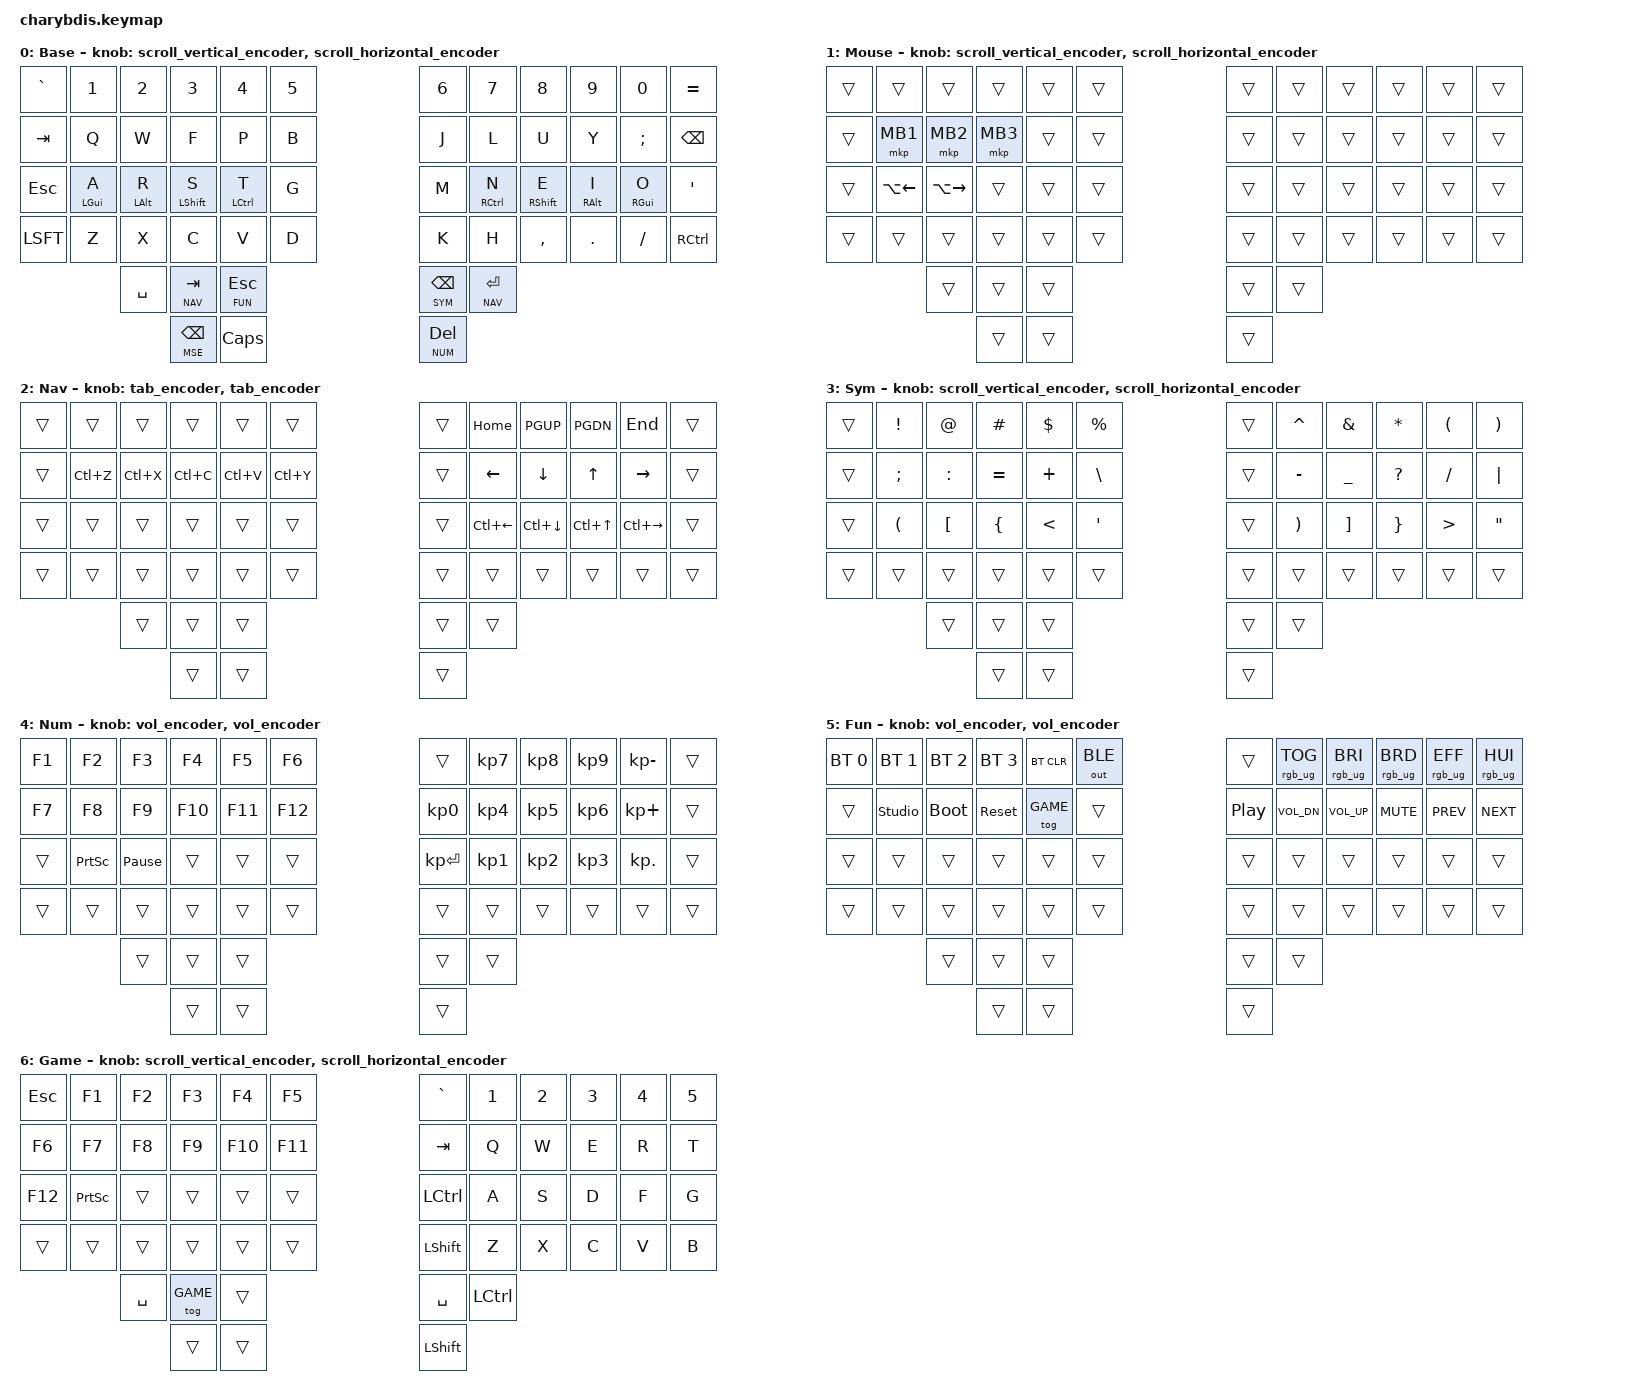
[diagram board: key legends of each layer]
// XI-MK1_2 (Charybdis 4x6 clone, 56-key) — Colemak-DH + HRM + layers
// Matrix verified against Vzhao-L/zmk-for-charybdis @ main-20250226
// ====================================================================
// POSITION MAP (from charybdis.dtsi transform):
// L keywell: 0-5 / 12-17 / 24-29 / 36-41   R keywell: 6-11 / 18-23 / 30-35 / 42-47
// L thumbs: 48 49 50 (upper), 53 54 (lower; 54 = wheel press ASSUMED - verify!)
// R thumbs: 51 52 (upper), 55 (lower)
// Encoders (left): slot 1 = wheel (assumed), slot 2 = unpopulated
// scroll-layers = <1> in charybdis_right.overlay -> on layer 1 (MSE) the
// trackball scrolls natively. Do not reorder layer 1 away from MSE.
// ====================================================================

#define ZMK_POINTING_DEFAULT_SCRL_VAL 15

#include <dt-bindings/zmk/mouse.h>
#include <input/processors.dtsi>
#include <zephyr/dt-bindings/input/input-event-codes.h>
#include <behaviors.dtsi>
#include <dt-bindings/zmk/bt.h>
#include <dt-bindings/zmk/keys.h>
#include <dt-bindings/zmk/outputs.h>
#include <dt-bindings/zmk/pointing.h>
#include <dt-bindings/zmk/rgb.h>

#define BASE 0
#define MSE  1
#define NAV  2
#define SYM  3
#define NUM  4
#define FUN  5
#define GAME 6

&lt {
    tapping-term-ms = <200>;
    flavor = "balanced";
    quick-tap-ms = <150>;
};

&msc {
    acceleration-exponent = <0>;
    time-to-max-speed-ms = <200>;
    delay-ms = <0>;
};

&mmv {
    time-to-max-speed-ms = <500>;
    acceleration-exponent = <1>;
    trigger-period-ms = <16>;
};

/ {
    // ---- encoder behaviors (vendor-compatible) ----
    scroll_vertical_encoder: scroll_vertical_encoder {
        compatible = "zmk,behavior-sensor-rotate";
        #sensor-binding-cells = <0>;
        bindings = <&msc SCRL_DOWN>, <&msc SCRL_UP>;
        tap-ms = <100>;
    };
    scroll_horizontal_encoder: scroll_horizontal_encoder {
        compatible = "zmk,behavior-sensor-rotate";
        #sensor-binding-cells = <0>;
        bindings = <&msc SCRL_LEFT>, <&msc SCRL_RIGHT>;
        tap-ms = <100>;
    };
    vol_encoder: vol_encoder {
        compatible = "zmk,behavior-sensor-rotate";
        #sensor-binding-cells = <0>;
        bindings = <&kp C_VOL_UP>, <&kp C_VOL_DN>;
        tap-ms = <100>;
    };
    tab_encoder: tab_encoder {
        compatible = "zmk,behavior-sensor-rotate";
        #sensor-binding-cells = <0>;
        bindings = <&kp LC(TAB)>, <&kp LC(LS(TAB))>;
        tap-ms = <100>;
    };

    behaviors {
        // Left-hand home-row mods: hold only triggers when right half is active
        hm_l: homerow_left {
            compatible = "zmk,behavior-hold-tap";
            #binding-cells = <2>;
            flavor = "balanced";
            tapping-term-ms = <280>;
            quick-tap-ms = <175>;
            require-prior-idle-ms = <150>;   // delete this line if build fails
            hold-trigger-key-positions =
                <6 7 8 9 10 11
                 18 19 20 21 22 23
                 30 31 32 33 34 35
                 42 43 44 45 46 47
                 51 52 55>;
            bindings = <&kp>, <&kp>;
        };
        // Right-hand home-row mods: hold only triggers when left half is active
        hm_r: homerow_right {
            compatible = "zmk,behavior-hold-tap";
            #binding-cells = <2>;
            flavor = "balanced";
            tapping-term-ms = <280>;
            quick-tap-ms = <175>;
            require-prior-idle-ms = <150>;
            hold-trigger-key-positions =
                <0 1 2 3 4 5
                 12 13 14 15 16 17
                 24 25 26 27 28 29
                 36 37 38 39 40 41
                 48 49 50 53 54>;
            bindings = <&kp>, <&kp>;
        };
    };

    combos {
        compatible = "zmk,combos";
        combo_caps_word {
            timeout-ms = <60>;
            key-positions = <49 50>;      // left thumbs: NAV + FUN
            bindings = <&caps_word>;
            layers = <BASE>;
        };
        combo_enter {
            timeout-ms = <60>;
            key-positions = <44 45>;      // right , + .
            bindings = <&kp RET>;
            layers = <BASE>;
        };
    };

    keymap {
        compatible = "zmk,keymap";

        // ---------- L0 BASE: Colemak-DH, hm_* = home-row mods ----------
        base_layer {
            display-name = "Base";
            bindings = <
&kp GRAVE &kp N1 &kp N2 &kp N3 &kp N4 &kp N5        &kp N6 &kp N7 &kp N8 &kp N9 &kp N0 &kp EQUAL
&kp TAB &kp Q &kp W &kp F &kp P &kp B               &kp J &kp L &kp U &kp Y &kp SEMI &kp BSPC
&kp ESC &hm_l LGUI A &hm_l LALT R &hm_l LSHFT S &hm_l LCTL T &kp G   &kp M &hm_r RCTL N &hm_r RSHFT E &hm_r RALT I &hm_r RGUI O &kp APOS
&kp LSFT &kp Z &kp X &kp C &kp V &kp D             &kp K &kp H &kp COMMA &kp DOT &kp SLASH &kp RCTL
               &kp SPC &lt NAV TAB &lt FUN ESC     &lt SYM BSPC &lt NAV RET
                       &lt MSE BSPC &kp CAPS        &lt NUM DEL
            >;
            sensor-bindings = <&scroll_vertical_encoder &scroll_horizontal_encoder>;
        };

        // ---------- L1 MSE: hold L53 -> ball SCROLLS (scroll-layers=<1>);
        // mouse buttons on left fingers; wheel press unaffected ----------
        mse_layer {
            display-name = "Mouse";
            bindings = <
&trans &trans &trans &trans &trans &trans            &trans &trans &trans &trans &trans &trans
&trans &mkp MB1 &mkp MB2 &mkp MB3 &trans &trans      &trans &trans &trans &trans &trans &trans
&trans &kp LA(LEFT) &kp LA(RIGHT) &trans &trans &trans   &trans &trans &trans &trans &trans &trans
&trans &trans &trans &trans &trans &trans            &trans &trans &trans &trans &trans &trans
               &trans &trans &trans                  &trans &trans
                       &trans &trans                  &trans
            >;
            sensor-bindings = <&scroll_vertical_encoder &scroll_horizontal_encoder>;
        };

        // ---------- L2 NAV: hold L49 (or R52). Arrows right hand,
        // word-jump below, clipboard chords left ----------
        nav_layer {
            display-name = "Nav";
            bindings = <
&trans &trans &trans &trans &trans &trans            &trans &kp HOME &kp PGUP &kp PGDN &kp END &trans
&trans &kp LC(Z) &kp LC(X) &kp LC(C) &kp LC(V) &kp LC(Y)   &trans &kp LEFT &kp DOWN &kp UP &kp RIGHT &trans
&trans &trans &trans &trans &trans &trans            &trans &kp LC(LEFT) &kp LC(DOWN) &kp LC(UP) &kp LC(RIGHT) &trans
&trans &trans &trans &trans &trans &trans            &trans &trans &trans &trans &trans &trans
               &trans &trans &trans                  &trans &trans
                       &trans &trans                  &trans
            >;
            sensor-bindings = <&tab_encoder &tab_encoder>;
        };

        // ---------- L3 SYM: hold R51. Brackets column-paired L<->R ----------
        sym_layer {
            display-name = "Sym";
            bindings = <
&trans &kp EXCL &kp AT &kp HASH &kp DLLR &kp PRCNT    &trans &kp CARET &kp AMPS &kp ASTRK &kp LPAR &kp RPAR
&trans &kp SEMI &kp COLON &kp EQUAL &kp PLUS &kp BSLH   &trans &kp MINUS &kp UNDER &kp QMARK &kp SLASH &kp PIPE
&trans &kp LPAR &kp LBKT &kp LBRC &kp LT &kp APOS      &trans &kp RPAR &kp RBKT &kp RBRC &kp GT &kp DQT
&trans &trans &trans &trans &trans &trans            &trans &trans &trans &trans &trans &trans
               &trans &trans &trans                  &trans &trans
                       &trans &trans                  &trans
            >;
            sensor-bindings = <&scroll_vertical_encoder &scroll_horizontal_encoder>;
        };

        // ---------- L4 NUM: hold R55 (numpad same hand). F-keys left ----------
        num_layer {
            display-name = "Num";
            bindings = <
&kp F1 &kp F2 &kp F3 &kp F4 &kp F5 &kp F6           &trans &kp KP_N7 &kp KP_N8 &kp KP_N9 &kp KP_MINUS &trans
&kp F7 &kp F8 &kp F9 &kp F10 &kp F11 &kp F12        &kp KP_N0 &kp KP_N4 &kp KP_N5 &kp KP_N6 &kp KP_PLUS &trans
&trans &kp PSCRN &kp PAUSE_BREAK &trans &trans &trans   &kp KP_ENTER &kp KP_N1 &kp KP_N2 &kp KP_N3 &kp KP_DOT &trans
&trans &trans &trans &trans &trans &trans           &trans &trans &trans &trans &trans &trans
               &trans &trans &trans                 &trans &trans
                       &trans &trans                 &trans
            >;
            sensor-bindings = <&vol_encoder &vol_encoder>;
        };

        // ---------- L5 FUN: hold L50. BT / Studio / boot / RGB / media.
        // pos16 = &tog GAME ----------
        fun_layer {
            display-name = "Fun";
            bindings = <
&bt BT_SEL 0 &bt BT_SEL 1 &bt BT_SEL 2 &bt BT_SEL 3 &bt BT_CLR &out OUT_BLE   &trans &rgb_ug RGB_TOG &rgb_ug RGB_BRI &rgb_ug RGB_BRD &rgb_ug RGB_EFF &rgb_ug RGB_HUI
&trans &studio_unlock &bootloader &sys_reset &tog GAME &trans                 &kp C_PP &kp C_VOL_DN &kp C_VOL_UP &kp C_MUTE &kp C_PREV &kp C_NEXT
&trans &trans &trans &trans &trans &trans                                          &trans &trans &trans &trans &trans &trans
&trans &trans &trans &trans &trans &trans                                          &trans &trans &trans &trans &trans &trans
               &trans &trans &trans                                                  &trans &trans
                       &trans &trans                                                  &trans
            >;
            sensor-bindings = <&vol_encoder &vol_encoder>;
        };

        // ---------- L6 GAME: right half = QWERTY left half (lefty gaming).
        // Enter via FUN(pos16) &tog GAME; exit = L49 &tog GAME ----------
        game_layer {
            display-name = "Game";
            bindings = <
&kp ESC &kp F1 &kp F2 &kp F3 &kp F4 &kp F5           &kp GRAVE &kp N1 &kp N2 &kp N3 &kp N4 &kp N5
&kp F6 &kp F7 &kp F8 &kp F9 &kp F10 &kp F11          &kp TAB &kp Q &kp W &kp E &kp R &kp T
&kp F12 &kp PSCRN &trans &trans &trans &trans        &kp LCTRL &kp A &kp S &kp D &kp F &kp G
&trans &trans &trans &trans &trans &trans           &kp LSHIFT &kp Z &kp X &kp C &kp V &kp B
               &kp SPC &tog GAME &trans              &kp SPC &kp LCTRL
                       &trans &trans                 &kp LSHIFT
            >;
            sensor-bindings = <&scroll_vertical_encoder &scroll_horizontal_encoder>;
        };
    };
};
